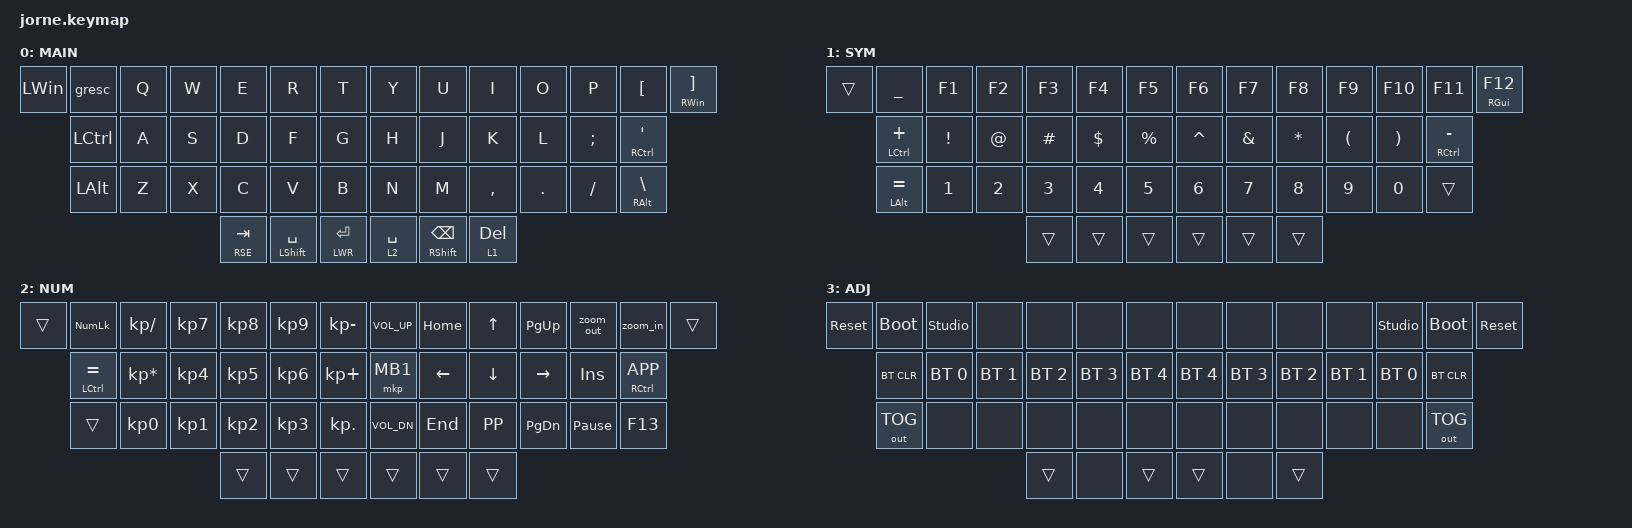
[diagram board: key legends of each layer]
/*
 * Copyright (c) 2020 The ZMK Contributors
 *
 * SPDX-License-Identifier: MIT
 */

#include <behaviors.dtsi>
#include <dt-bindings/zmk/bt.h>
#include <dt-bindings/zmk/keys.h>
#include <dt-bindings/zmk/outputs.h>
#include <dt-bindings/zmk/pointing.h>

#define DEF 0
#define LWR 1
#define RSE 2
#define ADJ 3

&lt { quick-tap-ms = <200>; };

&mt { quick-tap-ms = <200>; };

/ {
    conditional_layers {
        compatible = "zmk,conditional-layers";

        tri_layer {
            if-layers = <LWR RSE>;
            then-layer = <ADJ>;
        };
    };

    macros {
        zoom_out: zoom_out {
            compatible = "zmk,behavior-macro";
            #binding-cells = <0>;
            bindings = <&kt LCTRL &kp MINUS &kt LCTRL>;
            label = "ZOOM_OUT";
        };

        zoom_in: zoom_in {
            compatible = "zmk,behavior-macro";
            #binding-cells = <0>;
            bindings = <&kt LCTRL &kp PLUS &kt LCTRL>;
            label = "ZOOM_IN";
        };
    };

    keymap {
        compatible = "zmk,keymap";

        default_layer {
            display-name = "MAIN";

            // -----------------------------------------------------------------------------------------
            // |  GUI |   ~  |  Q  |  W  |  E  |  R  |  T  |   |  Y  |  U   |  I  |  O  |  P  |  [   | GUI/] |
            //        | CTRL |  A  |  S  |  D  |  F  |  G  |   |  H  |  J   |  K  |  L  |  ;  |CTRL/'|
            //        | LALT |  Z  |  X  |  C  |  V  |  B  |   |  N  |  M   |  ,  |  .  |  /  |RALT/\|
            //                           | RSE | SPC | LWR |   | LWR | BSPC | RSE |

            bindings = <
&kp LWIN  &gresc     &kp Q  &kp W  &kp E        &kp R            &kp T          &kp Y        &kp U           &kp I      &kp O    &kp P     &kp LBKT       &mt RWIN RBKT
          &kp LCTRL  &kp A  &kp S  &kp D        &kp F            &kp G          &kp H        &kp J           &kp K      &kp L    &kp SEMI  &mt RCTRL SQT
          &kp LALT   &kp Z  &kp X  &kp C        &kp V            &kp B          &kp N        &kp M           &kp COMMA  &kp DOT  &kp FSLH  &mt RALT BSLH
                                   &lt RSE TAB  &mt LSHFT SPACE  &lt LWR RET    &lt 2 SPACE  &mt RSHFT BSPC  &lt 1 DEL
            >;
        };

        lower_layer {
            display-name = "SYM";

            // -----------------------------------------------------------------------------------------
            // |     |  _  |  F1 |  F2 |  F3 |  F4 |  F5 |   |  F6 |  F7 |  F8 |  F9 | F10 | F11 | F12 |
            //       |  +  |  !  |  @  |  #  |  $  |  %  |   |  ^  |  &  |  *  |  (  |  )  |  -  |
            //       |  =  |  1  |  2  |  3  |  4  |  5  |   |  6  |  7  |  8  |  9  |  0  |     |
            //                         | ADJ |     |     |   |     |     | ADJ |

            bindings = <
&trans  &kp UNDER       &kp F1    &kp F2  &kp F3    &kp F4    &kp F5       &kp F6     &kp F7    &kp F8    &kp F9    &kp F10   &kp F11          &mt RGUI F12
        &mt LCTRL PLUS  &kp EXCL  &kp AT  &kp HASH  &kp DLLR  &kp PRCNT    &kp CARET  &kp AMPS  &kp STAR  &kp LPAR  &kp RPAR  &mt RCTRL MINUS
        &mt LALT EQUAL  &kp N1    &kp N2  &kp N3    &kp N4    &kp N5       &kp N6     &kp N7    &kp N8    &kp N9    &kp N0    &trans
                                          &trans    &trans    &trans       &trans     &trans    &trans
            >;
        };

        raise_layer {
            display-name = "NUM";

            // -----------------------------------------------------------------------------------------
            // |     | NMLK |  /  |  7  |  8  |  9  |  -  |   | VOLU| HOME| PRSC| PGUP| SCLK| CLCK|     |
            //       |CTRL/=|  *  |  4  |  5  |  6  |  +  |   | MUT | LEFT|  UP | RGHT| INS | APP |
            //       |      |  0  |  1  |  2  |  3  |  .  |   | VOLD| END | DOWN| PGDN| PAUS|     |
            //                          |     |     | ADJ |   | ADJ |     |     |

            bindings = <
&trans  &kp KP_NUM       &kp KP_SLASH     &kp KP_N7  &kp KP_N8  &kp KP_N9  &kp KP_MINUS    &kp C_VOL_UP  &kp HOME  &kp UP_ARROW  &kp PG_UP  &zoom_out        &zoom_in         &trans
        &mt LCTRL EQUAL  &kp KP_MULTIPLY  &kp KP_N4  &kp KP_N5  &kp KP_N6  &kp KP_PLUS     &mkp MB1      &kp LEFT  &kp DOWN      &kp RIGHT  &kp INS          &mt RCTRL K_APP
        &trans           &kp KP_N0        &kp KP_N1  &kp KP_N2  &kp KP_N3  &kp KP_DOT      &kp C_VOL_DN  &kp END   &kp K_PP      &kp PG_DN  &kp PAUSE_BREAK  &kp F13
                                                     &trans     &trans     &trans          &trans        &trans    &trans
            >;
        };

        adjust_layer {
            display-name = "ADJ";

            // -----------------------------------------------------------------------------------------
            // | RST | BLDR | STU |     |     |     |     |   |     |     |     |     | STU | BLDR | RST |
            //       | BTCLR| BT0 | BT1 | BT2 | BT3 | BT4 |   | BT4 | BT3 | BT2 | BT1 | BT0 | BTCLR|
            //       | OUT  |     |     |     |     |     |   |     |     |     |     |     | OUT  |
            //                          |     |     |     |   |     |     |     |

            bindings = <
&sys_reset  &bootloader   &studio_unlock  &none         &none         &none         &none           &none         &none         &none         &none         &studio_unlock  &bootloader   &sys_reset
            &bt BT_CLR    &bt BT_SEL 0    &bt BT_SEL 1  &bt BT_SEL 2  &bt BT_SEL 3  &bt BT_SEL 4    &bt BT_SEL 4  &bt BT_SEL 3  &bt BT_SEL 2  &bt BT_SEL 1  &bt BT_SEL 0    &bt BT_CLR
            &out OUT_TOG  &none           &none         &none         &none         &none           &none         &none         &none         &none         &none           &out OUT_TOG
                                                        &trans        &none         &trans          &trans        &none         &trans
            >;
        };
    };
};
